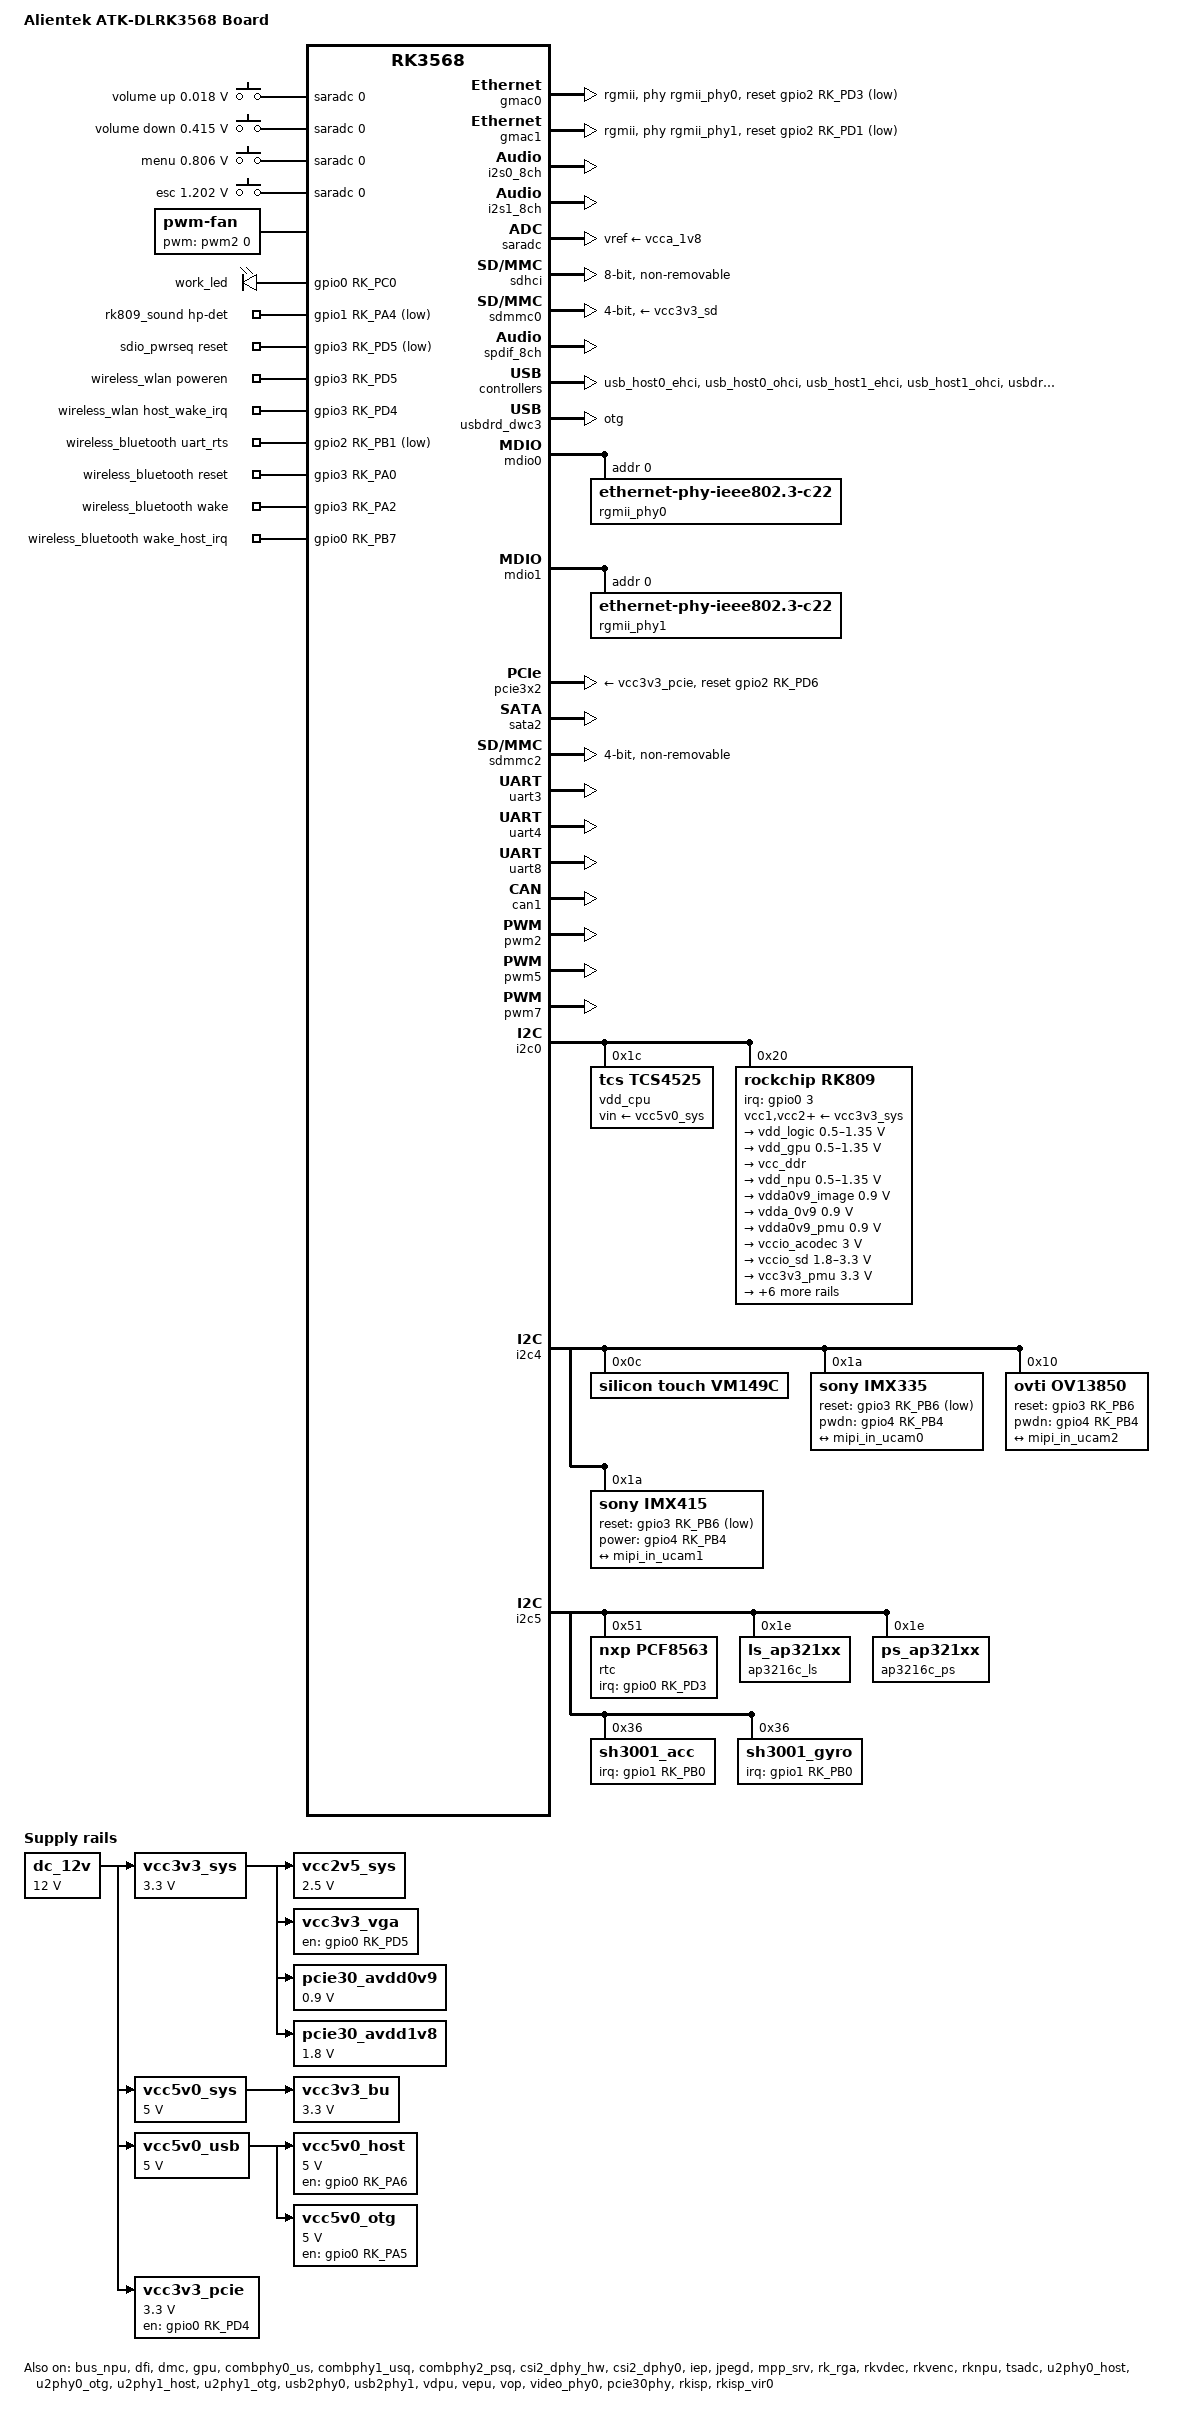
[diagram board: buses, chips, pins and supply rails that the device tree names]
// SPDX-License-Identifier: (GPL-2.0+ OR MIT)
/*
 * Copyright (c) 2020 Rockchip Electronics Co., Ltd.
 *
 */

/dts-v1/;
#include <dt-bindings/gpio/gpio.h>
#include <dt-bindings/pwm/pwm.h>
#include <dt-bindings/pinctrl/rockchip.h>
#include <dt-bindings/input/rk-input.h>
#include <dt-bindings/display/drm_mipi_dsi.h>
#include <dt-bindings/sensor-dev.h>
#include <dt-bindings/gpio/gpio.h>
#include <dt-bindings/pinctrl/rockchip.h>
#include <dt-bindings/display/media-bus-format.h>
#include <dt-bindings/display/rockchip_vop.h>
#include "rk3568.dtsi"
#include "rk3568-linux.dtsi"

/ {
	model = "Alientek ATK-DLRK3568 Board";
	compatible = "rockchip,rk3568-evb1-ddr4-v10", "rockchip,rk3568";

	adc_keys: adc-keys {
		status = "okay";
		compatible = "adc-keys";
		io-channels = <&saradc 0>;
		io-channel-names = "buttons";
		keyup-threshold-microvolt = <1800000>;
		poll-interval = <100>;

		vol-up-key {
			label = "volume up";
			linux,code = <KEY_VOLUMEUP>;
			press-threshold-microvolt = <17822>;
		};

		vol-down-key {
			label = "volume down";
			linux,code = <KEY_VOLUMEDOWN>;
			press-threshold-microvolt = <415385>;
		};

		menu-key {
			label = "menu";
			linux,code = <KEY_MENU>;
			press-threshold-microvolt = <805525>;
		};

		esc-key {
			label = "esc";
			linux,code = <KEY_ESC>;
			press-threshold-microvolt = <1201993>;
		};
	};

	fan: pwm-fan {
		compatible = "pwm-fan";
		#cooling-cells = <2>;
		pwms = <&pwm2 0 50000 0>;
		cooling-levels = <0 50 100 150 200 255>;
		rockchip,temp-trips = <
			30000	1
			40000	2
			50000	3
			60000	4
			70000	5
		>;
	};
	
	leds: leds {
		status = "okay";
		compatible = "gpio-leds";
		work_led: work {
			gpios = <&gpio0 RK_PC0 GPIO_ACTIVE_HIGH>;
			linux,default-trigger = "heartbeat";
		};
	};	
	
	rk809_sound: rk809-sound {
		status = "okay";
		compatible = "rockchip,multicodecs-card";
		rockchip,card-name = "rockchip-rk809";
		hp-det-gpio = <&gpio1 RK_PA4 GPIO_ACTIVE_LOW>;
		rockchip,format = "i2s";
		rockchip,mclk-fs = <256>;
		rockchip,cpu = <&i2s1_8ch>;
		rockchip,codec = <&rk809_codec>;
		pinctrl-names = "default";
		pinctrl-0 = <&hp_det>;
	};

	dc_12v: dc-12v {
		compatible = "regulator-fixed";
		regulator-name = "dc_12v";
		regulator-always-on;
		regulator-boot-on;
		regulator-min-microvolt = <12000000>;
		regulator-max-microvolt = <12000000>;
	};
	
	vcc3v3_sys: vcc3v3-sys {
		compatible = "regulator-fixed";
		regulator-name = "vcc3v3_sys";
		regulator-always-on;
		regulator-boot-on;
		regulator-min-microvolt = <3300000>;
		regulator-max-microvolt = <3300000>;
		vin-supply = <&dc_12v>;
	};

	vcc5v0_sys: vcc5v0-sys {
		compatible = "regulator-fixed";
		regulator-name = "vcc5v0_sys";
		regulator-always-on;
		regulator-boot-on;
		regulator-min-microvolt = <5000000>;
		regulator-max-microvolt = <5000000>;
		vin-supply = <&dc_12v>;
	};

	vcc5v0_usb: vcc5v0-usb {
		compatible = "regulator-fixed";
		regulator-name = "vcc5v0_usb";
		regulator-always-on;
		regulator-boot-on;
		regulator-min-microvolt = <5000000>;
		regulator-max-microvolt = <5000000>;
		vin-supply = <&dc_12v>;
	};
	
	vcc5v0_host: vcc5v0-host-regulator {
		compatible = "regulator-fixed";
		regulator-name = "vcc5v0_host";
		regulator-boot-on;
		regulator-always-on;
		regulator-min-microvolt = <5000000>;
		regulator-max-microvolt = <5000000>;
		enable-active-high;
		gpio = <&gpio0 RK_PA6 GPIO_ACTIVE_HIGH>;
		vin-supply = <&vcc5v0_usb>;
		pinctrl-names = "default";
		pinctrl-0 = <&vcc5v0_host_en>;
	};

	vcc5v0_otg: vcc5v0-otg-regulator {
		compatible = "regulator-fixed";
		regulator-name = "vcc5v0_otg";
		regulator-min-microvolt = <5000000>;
		regulator-max-microvolt = <5000000>;
		enable-active-high;
		gpio = <&gpio0 RK_PA5 GPIO_ACTIVE_HIGH>;
		vin-supply = <&vcc5v0_usb>;
		pinctrl-names = "default";
		pinctrl-0 = <&vcc5v0_otg_en>;
	};
	
	vcc3v3_lcd0_n: vcc3v3-lcd0-n {
		compatible = "regulator-fixed";
		regulator-name = "vcc3v3_lcd0_n";
		regulator-boot-on;
		regulator-state-mem {
			regulator-off-in-suspend;
		};
	};
	
	sdio_pwrseq: sdio-pwrseq {
		compatible = "mmc-pwrseq-simple";
		clocks = <&rk809 1>;
		clock-names = "ext_clock";
		pinctrl-names = "default";
		pinctrl-0 = <&wifi_enable_h>;

		/*
		 * On the module itself this is one of these (depending
		 * on the actual card populated):
		 * - SDIO_RESET_L_WL_REG_ON
		 * - PDN (power down when low)
		 */
		post-power-on-delay-ms = <200>;
		reset-gpios = <&gpio3 RK_PD5 GPIO_ACTIVE_LOW>;
	};

	vcc2v5_sys: vcc2v5-ddr {
		compatible = "regulator-fixed";
		regulator-name = "vcc2v5-sys";
		regulator-always-on;
		regulator-boot-on;
		regulator-min-microvolt = <2500000>;
		regulator-max-microvolt = <2500000>;
		vin-supply = <&vcc3v3_sys>;
	};

	vcc3v3_vga: vcc3v3-vga {
		compatible = "regulator-fixed";
		regulator-name = "vcc3v3_vga";
		regulator-always-on;
		regulator-boot-on;
		gpio = <&gpio0 RK_PD5 GPIO_ACTIVE_HIGH>;
		enable-active-high;
		vin-supply = <&vcc3v3_sys>;
	};

	pcie30_avdd0v9: pcie30-avdd0v9 {
		compatible = "regulator-fixed";
		regulator-name = "pcie30_avdd0v9";
		regulator-always-on;
		regulator-boot-on;
		regulator-min-microvolt = <900000>;
		regulator-max-microvolt = <900000>;
		vin-supply = <&vcc3v3_sys>;
	};

	pcie30_avdd1v8: pcie30-avdd1v8 {
		compatible = "regulator-fixed";
		regulator-name = "pcie30_avdd1v8";
		regulator-always-on;
		regulator-boot-on;
		regulator-min-microvolt = <1800000>;
		regulator-max-microvolt = <1800000>;
		vin-supply = <&vcc3v3_sys>;
	};

	vcc3v3_pcie: vcc3v3-pcie {
		compatible = "regulator-fixed";
		regulator-name = "vcc3v3_pcie";
		regulator-min-microvolt = <3300000>;
		regulator-max-microvolt = <3300000>;
		enable-active-high;
		gpio = <&gpio0 RK_PD4 GPIO_ACTIVE_HIGH>;
		startup-delay-us = <5000>;
		vin-supply = <&dc_12v>;
	};

	vcc3v3_bu: vcc3v3-bu {
		compatible = "regulator-fixed";
		regulator-name = "vcc3v3_bu";
		regulator-always-on;
		regulator-boot-on;
		regulator-min-microvolt = <3300000>;
		regulator-max-microvolt = <3300000>;
		vin-supply = <&vcc5v0_sys>;
	};
/*
	vcc_camera: vcc-camera-regulator {
		compatible = "regulator-fixed";
		gpio = <&gpio0 RK_PC1 GPIO_ACTIVE_HIGH>;
		pinctrl-names = "default";
		pinctrl-0 = <&camera_pwr>;
		regulator-name = "vcc_camera";
		enable-active-high;
		regulator-always-on;
		regulator-boot-on;
	};
	*/
	wireless_wlan: wireless-wlan {
		pinctrl-names = "default";
		pinctrl-0 = <&wifi_host_wake_irq>;
		compatible = "wlan-platdata";
		rockchip,grf = <&grf>;
		wifi_chip_type = "rtl8852bs";
		WIFI,poweren_gpio = <&gpio3 RK_PD5 GPIO_ACTIVE_HIGH>;
		WIFI,host_wake_irq = <&gpio3 RK_PD4 GPIO_ACTIVE_HIGH>;
		status = "okay";
	};
	
	wireless_bluetooth: wireless-bluetooth {
		compatible = "bluetooth-platdata";
		bt_port = "/dev/ttyS8";
		clocks = <&rk809 1>;
		clock-names = "ext_clock";
		//wifi-bt-power-toggle;
		uart_rts_gpios = <&gpio2 RK_PB1 GPIO_ACTIVE_LOW>;
		pinctrl-names = "default", "rts_gpio";
		pinctrl-0 = <&uart8m0_rtsn>;
		pinctrl-1 = <&uart8_gpios>;
		BT,reset_gpio    = <&gpio3 RK_PA0 GPIO_ACTIVE_HIGH>;
		BT,wake_gpio     = <&gpio3 RK_PA2 GPIO_ACTIVE_HIGH>;
		BT,wake_host_irq = <&gpio0 RK_PB7 GPIO_ACTIVE_HIGH>;
		status = "okay";
	};
};

&bus_npu {
	bus-supply = <&vdd_logic>;
	pvtm-supply = <&vdd_cpu>;
	status = "okay";
};

&cpu0 {
	cpu-supply = <&vdd_cpu>;
};

&dfi {
	status = "okay";
};

&dmc {
	center-supply = <&vdd_logic>;
	status = "okay";
};

&gpu {
	mali-supply = <&vdd_gpu>;
	status = "okay";
};

&combphy0_us {
	status = "okay";
};

&combphy1_usq {
	status = "okay";
};

&combphy2_psq {
	status = "okay";
};

&csi2_dphy_hw {
	status = "okay";
};

&csi2_dphy0 {
	status = "okay";

	ports {
		#address-cells = <1>;
		#size-cells = <0>;
		port@0 {
			reg = <0>;
			#address-cells = <1>;
			#size-cells = <0>;

			mipi_in_ucam0: endpoint@1 {
				reg = <1>;
				remote-endpoint = <&imx335_out>;
				data-lanes = <1 2 3 4>;
			};
			mipi_in_ucam1: endpoint@2 {
				reg = <2>;
				remote-endpoint = <&imx415_out>;
				data-lanes = <1 2 3 4>;
			};
			mipi_in_ucam2: endpoint@3 {
				reg = <3>;
				remote-endpoint = <&ov13850_out>;
				data-lanes = <1 2 3 4>;
			};
		};
		port@1 {
			reg = <1>;
			#address-cells = <1>;
			#size-cells = <0>;

			csidphy_out: endpoint@0 {
				reg = <0>;
				remote-endpoint = <&isp0_in>;
			};
		};
	};
};

&gmac0 {
	phy-mode = "rgmii";
	clock_in_out = "output";

	snps,reset-gpio = <&gpio2 RK_PD3 GPIO_ACTIVE_LOW>;
	snps,reset-active-low;
	/* Reset time is 20ms, 100ms for rtl8211f */
	snps,reset-delays-us = <0 20000 100000>;

	assigned-clocks = <&cru SCLK_GMAC0_RX_TX>, <&cru SCLK_GMAC0>;
	assigned-clock-parents = <&cru SCLK_GMAC0_RGMII_SPEED>, <&cru CLK_MAC0_2TOP>;
	assigned-clock-rates = <0>, <125000000>;

	pinctrl-names = "default";
	pinctrl-0 = <&gmac0_miim
		     &gmac0_tx_bus2
		     &gmac0_rx_bus2
		     &gmac0_rgmii_clk
		     &gmac0_rgmii_bus>;

	tx_delay = <0x3c>;
	rx_delay = <0x2f>;

	phy-handle = <&rgmii_phy0>;
	status = "okay";
};

&gmac1 {
	phy-mode = "rgmii";
	clock_in_out = "output";

	snps,reset-gpio = <&gpio2 RK_PD1 GPIO_ACTIVE_LOW>;
	snps,reset-active-low;
	/* Reset time is 20ms, 100ms for rtl8211f */
	snps,reset-delays-us = <0 20000 100000>;

	assigned-clocks = <&cru SCLK_GMAC1_RX_TX>, <&cru SCLK_GMAC1>;
	assigned-clock-parents = <&cru SCLK_GMAC1_RGMII_SPEED>, <&cru CLK_MAC1_2TOP>;
	assigned-clock-rates = <0>, <125000000>;

	pinctrl-names = "default";
	pinctrl-0 = <&gmac1m1_miim
		     &gmac1m1_tx_bus2
		     &gmac1m1_rx_bus2
		     &gmac1m1_rgmii_clk
		     &gmac1m1_rgmii_bus>;

	tx_delay = <0x4f>;
	rx_delay = <0x26>;

	phy-handle = <&rgmii_phy1>;
	status = "okay";
};

&i2s0_8ch {
	status = "okay";
};

&i2s1_8ch {
	status = "okay";
	rockchip,trcm-sync-tx-only;
	pinctrl-names = "default";
	pinctrl-0 = <&i2s1m0_sclktx
		     &i2s1m0_lrcktx
		     &i2s1m0_sdi0
		     &i2s1m0_sdo0>;
};

&i2s3_2ch {
	pinctrl-0 = <&i2s3m0_sclk &i2s3m0_lrck &i2s3m0_sdi &i2s3m0_sdo>;
	#sound-dai-cells = <0>;
	rockchip,bclk-fs = <32>;
	status = "disabled";
};

&iep {
	status = "okay";
};

&iep_mmu {
	status = "okay";
};

&jpegd {
	status = "okay";
};

&jpegd_mmu {
	status = "okay";
};

&mpp_srv {
	status = "okay";
};

&rk_rga {
	status = "okay";
};

&rkvdec {
	status = "okay";
};

&rkvdec_mmu {
	status = "okay";
};

&rkvenc {
	venc-supply = <&vdd_logic>;
	status = "okay";
};

&rkvenc_mmu {
	status = "okay";
};

&rknpu {
	rknpu-supply = <&vdd_npu>;
	status = "okay";
};

&rknpu_mmu {
	status = "okay";
};

&saradc {
	status = "okay";
	vref-supply = <&vcca_1v8>;
};

&sdhci {
	bus-width = <8>;
	no-sdio;
	no-sd;
	non-removable;
	max-frequency = <200000000>;
	full-pwr-cycle-in-suspend;
	status = "okay";
};

&sdmmc0 {
	max-frequency = <150000000>;
	no-sdio;
	no-mmc;
	bus-width = <4>;
	cap-mmc-highspeed;
	cap-sd-highspeed;
	disable-wp;
	sd-uhs-sdr104;
	vmmc-supply = <&vcc3v3_sd>;
	vqmmc-supply = <&vccio_sd>;
	pinctrl-names = "default";
	pinctrl-0 = <&sdmmc0_bus4 &sdmmc0_clk &sdmmc0_cmd &sdmmc0_det>;
	status = "okay";
};

&spdif_8ch {
	status = "okay";
};

&tsadc {
	status = "okay";
};

&u2phy0_host {
	phy-supply = <&vcc5v0_host>;
	status = "okay";
};

&u2phy0_otg {
	vbus-supply = <&vcc5v0_otg>;
	status = "okay";
};

&u2phy1_host {
	phy-supply = <&vcc5v0_host>;
	status = "okay";
};

&u2phy1_otg {
	phy-supply = <&vcc5v0_host>;
	status = "okay";
};

&usb2phy0 {
	status = "okay";
};

&usb2phy1 {
	status = "okay";
};

&usb_host0_ehci {
	status = "okay";
};

&usb_host0_ohci {
	status = "okay";
};

&usb_host1_ehci {
	status = "okay";
};

&usb_host1_ohci {
	status = "okay";
};

&usbdrd_dwc3 {
	dr_mode = "otg";
	extcon = <&usb2phy0>;
	status = "okay";
};

&usbdrd30 {
	status = "okay";
};

&usbhost_dwc3 {
	status = "okay";
};

&usbhost30 {
	status = "okay";
};

&vad {
	rockchip,audio-src = <&i2s1_8ch>;
	rockchip,buffer-time-ms = <128>;
	rockchip,det-channel = <0>;
	rockchip,mode = <0>;
};

&vdpu {
	status = "okay";
};

&vdpu_mmu {
	status = "okay";
};

&vepu {
	status = "okay";
};

&vepu_mmu {
	status = "okay";
};

&vop {
	status = "okay";
	vop-supply = <&vdd_logic>;
	assigned-clocks = <&cru DCLK_VOP0>, <&cru DCLK_VOP1>, <&cru DCLK_VOP2>;
	assigned-clock-parents = <&pmucru PLL_HPLL>, <&cru PLL_VPLL>, <&cru PLL_GPLL>;
};

&vp0 {
        cursor-win-id = <ROCKCHIP_VOP2_ESMART0>;
};

&vp1 {
        cursor-win-id = <ROCKCHIP_VOP2_ESMART1>;
};

&vop_mmu {
	status = "okay";
};

&mdio0 {
	rgmii_phy0: phy@0 {
		compatible = "ethernet-phy-ieee802.3-c22";
		reg = <0x0>;
	};
};

&mdio1 {
	rgmii_phy1: phy@0 {
		compatible = "ethernet-phy-ieee802.3-c22";
		reg = <0x0>;
	};
};

&video_phy0 {
	status = "okay";
};

&video_phy1 {
	status = "disabled";
};

&pcie30phy {
	status = "okay";
};

&pcie3x2 {
	reset-gpios = <&gpio2 RK_PD6 GPIO_ACTIVE_HIGH>;
	vpcie3v3-supply = <&vcc3v3_pcie>;
	status = "okay";
};

&pinctrl {
	/*
	touch {
		ts_int_active: ts_int_active {
			rockchip,pins = <0 RK_PB5 RK_FUNC_GPIO &pcfg_pull_up>;
		};

		ts_reset_active: ts_reset_active {
			rockchip,pins = <0 RK_PB6 RK_FUNC_GPIO &pcfg_pull_up>;
		};

		ts_int_suspend: ts_int_suspend {
			rockchip,pins = <0 RK_PB5 RK_FUNC_GPIO &pcfg_pull_down>;
		};

		ts_reset_suspend: ts_reset_suspend {
			rockchip,pins = <0 RK_PB6 RK_FUNC_GPIO &pcfg_pull_down>;
		};
	};*/

	sdio-pwrseq {
		wifi_enable_h: wifi-enable-h {
			rockchip,pins = <3 RK_PD5 RK_FUNC_GPIO &pcfg_pull_none>;
		};
	};

	usb {
		vcc5v0_host_en: vcc5v0-host-en {
			rockchip,pins = <0 RK_PA6 RK_FUNC_GPIO &pcfg_pull_none>;
		};

		vcc5v0_otg_en: vcc5v0-otg-en {
			rockchip,pins = <0 RK_PA5 RK_FUNC_GPIO &pcfg_pull_none>;
		};
	};
	
	sh3001 {
		sh3001_irq_gpio: sh3001-irq-gpio {
			rockchip,pins = <1 RK_PB0 RK_FUNC_GPIO &pcfg_pull_none>;
		};
	};

	cam {
		camera_pwr: camera-pwr {
			rockchip,pins =
				/* camera power en */
				<0 RK_PC1 RK_FUNC_GPIO &pcfg_pull_none>;
		};
	};
	headphone {
		hp_det: hp-det {
			rockchip,pins = <1 RK_PA4 RK_FUNC_GPIO &pcfg_pull_up>;
		};
	};

	wireless-wlan {
		wifi_host_wake_irq: wifi-host-wake-irq {
			rockchip,pins = <3 RK_PD4 RK_FUNC_GPIO &pcfg_pull_down>;
		};
	};

	wireless-bluetooth {
		uart8_gpios: uart8-gpios {
			rockchip,pins = <2 RK_PB1 RK_FUNC_GPIO &pcfg_pull_none>;
		};
	};
	
	pmic {
		pmic_int: pmic_int {
			rockchip,pins =
				<0 RK_PA3 RK_FUNC_GPIO &pcfg_pull_up>;
		};

		soc_slppin_gpio: soc_slppin_gpio {
			rockchip,pins =
				<0 RK_PA2 RK_FUNC_GPIO &pcfg_output_low>;
		};

		soc_slppin_slp: soc_slppin_slp {
			rockchip,pins =
				<0 RK_PA2 1 &pcfg_pull_none>;
		};

		soc_slppin_rst: soc_slppin_rst {
			rockchip,pins =
				<0 RK_PA2 2 &pcfg_pull_none>;
		};
	};
};

&rkisp {
	status = "okay";
};

&rkisp_mmu {
	status = "okay";
};

&rkisp_vir0 {
	status = "okay";

	port {
		#address-cells = <1>;
		#size-cells = <0>;

		isp0_in: endpoint@0 {
			reg = <0>;
			remote-endpoint = <&csidphy_out>;
		};
	};
};

&sata2 {
	status = "okay";
};

&sdmmc2 {
	max-frequency = <150000000>;
	no-sd;
	no-mmc;
	bus-width = <4>;
	disable-wp;
	cap-sd-highspeed;
	cap-sdio-irq;
	keep-power-in-suspend;
	mmc-pwrseq = <&sdio_pwrseq>;
	non-removable;
	pinctrl-names = "default";
	pinctrl-0 = <&sdmmc2m0_bus4 &sdmmc2m0_cmd &sdmmc2m0_clk>;
	sd-uhs-sdr104;
	status = "okay";
};

&spdif_8ch {
	status = "okay";
	pinctrl-names = "default";
	pinctrl-0 = <&spdifm1_tx>;
};

&uart3 {
	pinctrl-names = "default";
	pinctrl-0 = <&uart3m1_xfer>;
	status = "okay";
};

&uart4 {
	pinctrl-names = "default";
	pinctrl-0 = <&uart4m1_xfer>;
	status = "okay";
};

&uart8 {
	status = "okay";
	pinctrl-names = "default";
	pinctrl-0 = <&uart8m0_xfer &uart8m0_ctsn>;
};

&can1 {
	assigned-clocks = <&cru CLK_CAN1>;
	assigned-clock-rates = <150000000>;
	pinctrl-names = "default";
	pinctrl-0 = <&can1m1_pins>;
	status = "okay";
};

&vcc3v3_lcd0_n {
	gpio = <&gpio0 RK_PC7 GPIO_ACTIVE_HIGH>;
	enable-active-high;
	status = "disabled";
};

&pmu_io_domains {
        status = "okay";
        pmuio2-supply = <&vcc3v3_pmu>;
	vccio1-supply = <&vccio_acodec>;
	vccio3-supply = <&vccio_sd>;
	vccio4-supply = <&vcc_1v8>;
	vccio5-supply = <&vcc_3v3>;
	vccio6-supply = <&vcc_1v8>;
	vccio7-supply = <&vcc_3v3>;
};

&pwm2 {
    ///delete-node/ interrupts;
	status = "okay";
};

&pwm5 {
	status = "okay";
};

&pwm7 {
	status = "okay";

	compatible = "rockchip,remotectl-pwm";
	remote_pwm_id = <3>;
	handle_cpu_id = <1>;
	remote_support_psci = <0>;
	pinctrl-names = "default";
	pinctrl-0 = <&pwm7_pins>;

	ir_key1 {
		/* 正点原子红外遥控器按键定义: 一共20个按键 */
		rockchip,usercode = <0xFF00>;
		rockchip,key_table =
			<0xba KEY_POWER>,
			<0xb9 KEY_UP>,
			<0xb8 KEY_HOME>,
			<0xbb KEY_REWIND>,
			<0xbf KEY_PLAYPAUSE>,
			<0xbc KEY_FASTFORWARD>,
			<0xf8 KEY_VOLUMEDOWN>,
			<0xea KEY_DOWN>,
			<0xf6 KEY_VOLUMEUP>,
			<0xe9 KEY_1>,
			<0xe6 KEY_2>,
			<0xf2 KEY_3>,
			<0xf3 KEY_4>,
			<0xe7 KEY_5>,
			<0xa1 KEY_6>,
			<0xf7 KEY_7>,
			<0xe3 KEY_8>,
			<0xa5 KEY_9>,
			<0xbd KEY_0>,
			<0xb5 KEY_BACKSPACE>;
	};
};

&i2c0 {
	status = "okay";

	vdd_cpu: tcs4525@1c {
		compatible = "tcs,tcs4525";
		reg = <0x1c>;
		vin-supply = <&vcc5v0_sys>;
		regulator-compatible = "fan53555-reg";
		regulator-name = "vdd_cpu";
		regulator-min-microvolt = <712500>;
		regulator-max-microvolt = <1390000>;
		regulator-init-microvolt = <900000>;
		regulator-ramp-delay = <2300>;
		fcs,suspend-voltage-selector = <1>;
		regulator-boot-on;
		regulator-always-on;
		regulator-state-mem {
			regulator-off-in-suspend;
		};
	};

	rk809: pmic@20 {
		compatible = "rockchip,rk809";
		reg = <0x20>;
		interrupt-parent = <&gpio0>;
		interrupts = <3 IRQ_TYPE_LEVEL_LOW>;

		pinctrl-names = "default", "pmic-sleep",
				"pmic-power-off", "pmic-reset";
		pinctrl-0 = <&pmic_int>;
		pinctrl-1 = <&soc_slppin_slp>;
		pinctrl-2 = <&soc_slppin_gpio>;
		pinctrl-3 = <&soc_slppin_gpio>;

		rockchip,system-power-controller;
		wakeup-source;
		#clock-cells = <1>;
		clock-output-names = "rk808-clkout1", "rk808-clkout2";
		//fb-inner-reg-idxs = <2>;
		/* 1: rst regs (default in codes), 0: rst the pmic */
		pmic-reset-func = <0>;
		/* not save the PMIC_POWER_EN register in uboot */
		not-save-power-en = <1>;

		vcc1-supply = <&vcc3v3_sys>;
		vcc2-supply = <&vcc3v3_sys>;
		vcc3-supply = <&vcc3v3_sys>;
		vcc4-supply = <&vcc3v3_sys>;
		vcc5-supply = <&vcc3v3_sys>;
		vcc6-supply = <&vcc3v3_sys>;
		vcc7-supply = <&vcc3v3_sys>;
		vcc8-supply = <&vcc3v3_sys>;
		vcc9-supply = <&vcc3v3_sys>;

		pwrkey {
			status = "okay";
		};

		pinctrl_rk8xx: pinctrl_rk8xx {
			gpio-controller;
			#gpio-cells = <2>;

			rk817_slppin_null: rk817_slppin_null {
				pins = "gpio_slp";
				function = "pin_fun0";
			};

			rk817_slppin_slp: rk817_slppin_slp {
				pins = "gpio_slp";
				function = "pin_fun1";
			};

			rk817_slppin_pwrdn: rk817_slppin_pwrdn {
				pins = "gpio_slp";
				function = "pin_fun2";
			};

			rk817_slppin_rst: rk817_slppin_rst {
				pins = "gpio_slp";
				function = "pin_fun3";
			};
		};

		regulators {
			vdd_logic: DCDC_REG1 {
				regulator-always-on;
				regulator-boot-on;
				regulator-min-microvolt = <500000>;
				regulator-max-microvolt = <1350000>;
				regulator-init-microvolt = <900000>;
				regulator-ramp-delay = <6001>;
				regulator-initial-mode = <0x2>;
				regulator-name = "vdd_logic";
				regulator-state-mem {
					regulator-off-in-suspend;
				};
			};

			vdd_gpu: DCDC_REG2 {
				regulator-always-on;
				regulator-boot-on;
				regulator-min-microvolt = <500000>;
				regulator-max-microvolt = <1350000>;
				regulator-init-microvolt = <900000>;
				regulator-ramp-delay = <6001>;
				regulator-initial-mode = <0x2>;
				regulator-name = "vdd_gpu";
				regulator-state-mem {
					regulator-off-in-suspend;
				};
			};

			vcc_ddr: DCDC_REG3 {
				regulator-always-on;
				regulator-boot-on;
				regulator-initial-mode = <0x2>;
				regulator-name = "vcc_ddr";
				regulator-state-mem {
					regulator-on-in-suspend;
				};
			};

			vdd_npu: DCDC_REG4 {
				regulator-always-on;
				regulator-boot-on;
				regulator-min-microvolt = <500000>;
				regulator-max-microvolt = <1350000>;
				regulator-init-microvolt = <900000>;
				regulator-ramp-delay = <6001>;
				regulator-initial-mode = <0x2>;
				regulator-name = "vdd_npu";
				regulator-state-mem {
					regulator-off-in-suspend;
				};
			};

			vdda0v9_image: LDO_REG1 {
				regulator-boot-on;
				regulator-always-on;
				regulator-min-microvolt = <900000>;
				regulator-max-microvolt = <900000>;
				regulator-name = "vdda0v9_image";
				regulator-state-mem {
					regulator-off-in-suspend;
				};
			};

			vdda_0v9: LDO_REG2 {
				regulator-always-on;
				regulator-boot-on;
				regulator-min-microvolt = <900000>;
				regulator-max-microvolt = <900000>;
				regulator-name = "vdda_0v9";
				regulator-state-mem {
					regulator-off-in-suspend;
				};
			};

			vdda0v9_pmu: LDO_REG3 {
				regulator-always-on;
				regulator-boot-on;
				regulator-min-microvolt = <900000>;
				regulator-max-microvolt = <900000>;
				regulator-name = "vdda0v9_pmu";
				regulator-state-mem {
					regulator-on-in-suspend;
					regulator-suspend-microvolt = <900000>;
				};
			};

			vccio_acodec: LDO_REG4 {
				regulator-always-on;
				regulator-boot-on;
				regulator-min-microvolt = <3000000>;
				regulator-max-microvolt = <3000000>;
				regulator-name = "vccio_acodec";
				regulator-state-mem {
					regulator-off-in-suspend;
				};
			};

			vccio_sd: LDO_REG5 {
				regulator-always-on;
				regulator-boot-on;
				regulator-min-microvolt = <1800000>;
				regulator-max-microvolt = <3300000>;
				regulator-name = "vccio_sd";
				regulator-state-mem {
					regulator-off-in-suspend;
				};
			};

			vcc3v3_pmu: LDO_REG6 {
				regulator-always-on;
				regulator-boot-on;
				regulator-min-microvolt = <3300000>;
				regulator-max-microvolt = <3300000>;
				regulator-name = "vcc3v3_pmu";
				regulator-state-mem {
					regulator-on-in-suspend;
					regulator-suspend-microvolt = <3300000>;
				};
			};

			vcca_1v8: LDO_REG7 {
				regulator-always-on;
				regulator-boot-on;
				regulator-min-microvolt = <1800000>;
				regulator-max-microvolt = <1800000>;
				regulator-name = "vcca_1v8";
				regulator-state-mem {
					regulator-off-in-suspend;
				};
			};

			vcca1v8_pmu: LDO_REG8 {
				regulator-always-on;
				regulator-boot-on;
				regulator-min-microvolt = <1800000>;
				regulator-max-microvolt = <1800000>;
				regulator-name = "vcca1v8_pmu";
				regulator-state-mem {
					regulator-on-in-suspend;
					regulator-suspend-microvolt = <1800000>;
				};
			};

			vcca1v8_image: LDO_REG9 {
				regulator-always-on;
				regulator-boot-on;
				regulator-min-microvolt = <1800000>;
				regulator-max-microvolt = <1800000>;
				regulator-name = "vcca1v8_image";
				regulator-state-mem {
					regulator-off-in-suspend;
				};
			};

			vcc_1v8: DCDC_REG5 {
				regulator-always-on;
				regulator-boot-on;
				regulator-min-microvolt = <1800000>;
				regulator-max-microvolt = <1800000>;
				regulator-name = "vcc_1v8";
				regulator-state-mem {
					regulator-off-in-suspend;
				};
			};

			vcc_3v3: SWITCH_REG1 {
				regulator-always-on;
				regulator-boot-on;
				regulator-name = "vcc_3v3";
				regulator-state-mem {
					regulator-off-in-suspend;
				};
			};

			vcc3v3_sd: SWITCH_REG2 {
				regulator-always-on;
				regulator-boot-on;
				regulator-name = "vcc3v3_sd";
				regulator-state-mem {
					regulator-off-in-suspend;
				};
			};
		};

		rk809_codec: codec {
			#sound-dai-cells = <1>;
			compatible = "rockchip,rk809-codec", "rockchip,rk817-codec";
			clocks = <&cru I2S1_MCLKOUT>;
			clock-names = "mclk";
			assigned-clocks = <&cru I2S1_MCLKOUT>, <&cru I2S1_MCLK_TX_IOE>;
			assigned-clock-rates = <12288000>;
			assigned-clock-parents = <&cru I2S1_MCLKOUT_TX>, <&cru I2S1_MCLKOUT_TX>;
			pinctrl-names = "default";
			pinctrl-0 = <&i2s1m0_mclk>;
			hp-volume = <20>;
			spk-volume = <3>;
			mic-in-differential;
			status = "okay";
		};
	};
};

&i2c4 {
	status = "okay";

    vm149c: vm149c@c { //vcm驱动配置,支持AF时需要有这个设置
		compatible = "silicon touch,vm149c";
		status = "okay";
		reg = <0x0c>;

		rockchip,vcm-start-current = <0>;		//马达的启动电流
		rockchip,vcm-rated-current = <100>;		//马达的额定电流
		rockchip,vcm-step-mode = <4>;			//马达驱动ic的电流输出模式
		rockchip,camera-module-index = <0>;		//模组编号
		rockchip,camera-module-facing = "back";	//模组朝向
	};

	imx335: imx335@1a {
		status = "okay";
		compatible = "sony,imx335";
		reg = <0x1a>;
		clocks = <&cru CLK_CIF_OUT>;
		clock-names = "xvclk";
		power-domains = <&power RK3568_PD_VI>;
		pinctrl-names = "rockchip,camera_default";
		pinctrl-0 = <&cif_clk>;
		reset-gpios = <&gpio3 RK_PB6 GPIO_ACTIVE_LOW>;
		pwdn-gpios = <&gpio4 RK_PB4 GPIO_ACTIVE_HIGH>;
		rockchip,camera-module-index = <0>;
		rockchip,camera-module-facing = "back";
		rockchip,camera-module-name = "MTV4-IR-E-P";
		rockchip,camera-module-lens-name = "40IRC-4MP-F16";
		port {
			imx335_out: endpoint {
				remote-endpoint = <&mipi_in_ucam0>;
				data-lanes = <1 2 3 4>;
			};
		};
	};

	ov13850: ov13850@10 {
		compatible = "ovti,ov13850";
		status = "okay";
		reg = <0x10>;
		clocks = <&cru CLK_CIF_OUT>;
		clock-names = "xvclk";
		power-domains = <&power RK3568_PD_VI>;

		/* conflict with csi-ctl-gpios */
		reset-gpios = <&gpio3 RK_PB6 GPIO_ACTIVE_HIGH>;
		pwdn-gpios = <&gpio4 RK_PB4 GPIO_ACTIVE_HIGH>;
		pinctrl-names = "rockchip,camera_default";
		pinctrl-0 = <&cif_clk>;
		lens-focus = <&vm149c>; //vcm驱动设置,支持AF时需要有这个设置
		rockchip,camera-module-index = <0>;
		rockchip,camera-module-facing = "back";
		rockchip,camera-module-name = "ZC-OV13850R2A-V1";
		rockchip,camera-module-lens-name = "Largan-50064B31";

		port {
			ov13850_out: endpoint {
				remote-endpoint = <&mipi_in_ucam2>;
				data-lanes = <1 2 3 4>;
			};
		};
	};

	imx415: imx415@1a {
		status = "okay";
		compatible = "sony,imx415";
		reg = <0x1a>;
		clocks = <&cru CLK_CIF_OUT>;
		clock-names = "xvclk";
		power-domains = <&power RK3568_PD_VI>;
		pinctrl-names = "rockchip,camera_default";
		pinctrl-0 = <&cif_clk>;
		reset-gpios = <&gpio3 RK_PB6 GPIO_ACTIVE_LOW>;
		power-gpios = <&gpio4 RK_PB4 GPIO_ACTIVE_HIGH>;
		rockchip,camera-module-index = <0>;
		rockchip,camera-module-facing = "back";
		rockchip,camera-module-name = "CMK-OT1522-FG3";
		rockchip,camera-module-lens-name = "CS-P1150-IRC-8M-FAU";
		port {
			imx415_out: endpoint {
				remote-endpoint = <&mipi_in_ucam1>;
				data-lanes = <1 2 3 4>;
			};
		};
	};
};

&i2c5 {
	status = "okay";

	rtc@51 {
		compatible = "nxp,pcf8563";
		reg = <0x51>;
		interrupt-parent = <&gpio0>;
		interrupts = <RK_PD3 IRQ_TYPE_LEVEL_LOW>;
		#clock-cells = <0>;
	};


	ap3216c_ls@1e {
		compatible = "ls_ap321xx";
		reg = <0x1e>;
		type = <SENSOR_TYPE_LIGHT>;
		//irq-gpio = <&gpio4 RK_PD2 IRQ_TYPE_EDGE_FALLING>;
		irq_enable = <0>;
		poll_delay_ms = <20>;
		layout = <1>;
		status = "okay";
	};

	ap3216c_ps@1e {
		compatible = "ps_ap321xx";
		reg = <0x1e>;
		type = <SENSOR_TYPE_PROXIMITY>;
		//irq-gpio = <&gpio4 RK_PD2 IRQ_TYPE_EDGE_FALLING>;
		irq_enable = <0>;
		poll_delay_ms = <20>;
		layout = <1>;
		status = "okay";
	};

	sh3001_acc@36 {
		compatible = "sh3001_acc";
		reg = <0x36>;
		type = <SENSOR_TYPE_ACCEL>;
		pinctrl-names = "default";
		pinctrl-0 = <&sh3001_irq_gpio>;
		irq-gpio = <&gpio1 RK_PB0 IRQ_TYPE_LEVEL_HIGH>;
		irq_enable = <0>;
		poll_delay_ms = <30>;
		layout = <3>;
		status = "okay";
	};

	sh3001_gyro@36 {
		compatible = "sh3001_gyro";
		reg = <0x36>;
		type = <SENSOR_TYPE_GYROSCOPE>;
		//pinctrl-names = "default";
		//pinctrl-0 = <&sh3001_irq_gpio>;
		irq-gpio = <&gpio1 RK_PB0 IRQ_TYPE_LEVEL_HIGH>;
		irq_enable = <0>;       //Must be set to 0, disable interrupt
		poll_delay_ms = <30>;
		layout = <1>;
		status = "okay";
	};   
};
